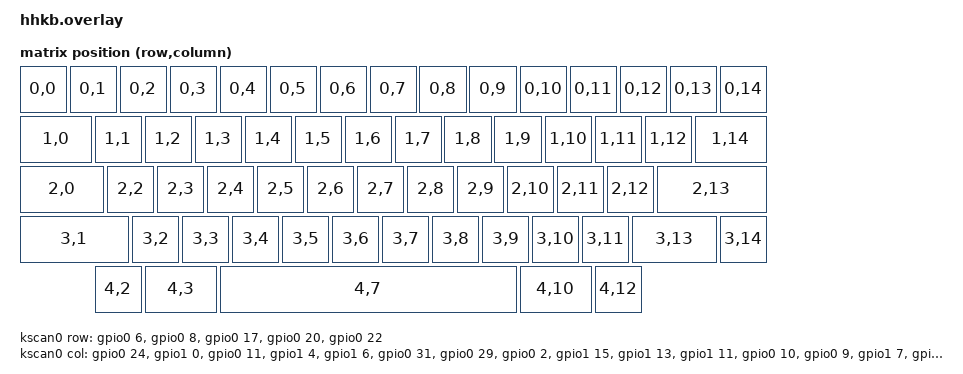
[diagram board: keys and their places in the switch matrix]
/*
 * HHKB Low-Profile – ZMK Shield Overlay
 *
 * 60-key matrix: 5 rows × 15 columns, diode direction row2col.
 * MCU: SuperMini nRF52840 (nice_nano_v2 compatible).
 */

#include <dt-bindings/zmk/matrix_transform.h>
#include <physical_layouts.dtsi>

/ {
    chosen {
        zmk,kscan = &kscan0;
        zmk,physical-layout = &hhkb_physical_layout;
    };

    hhkb_physical_layout: hhkb_physical_layout {
        compatible = "zmk,physical-layout";
        display-name = "HHKB";
        transform = <&default_transform>;
        kscan = <&kscan0>;
        keys
            /* Row 0: 15 × 1u */
            = <&key_physical_attrs 100 100    0   0 0 0 0>
            , <&key_physical_attrs 100 100  100   0 0 0 0>
            , <&key_physical_attrs 100 100  200   0 0 0 0>
            , <&key_physical_attrs 100 100  300   0 0 0 0>
            , <&key_physical_attrs 100 100  400   0 0 0 0>
            , <&key_physical_attrs 100 100  500   0 0 0 0>
            , <&key_physical_attrs 100 100  600   0 0 0 0>
            , <&key_physical_attrs 100 100  700   0 0 0 0>
            , <&key_physical_attrs 100 100  800   0 0 0 0>
            , <&key_physical_attrs 100 100  900   0 0 0 0>
            , <&key_physical_attrs 100 100 1000   0 0 0 0>
            , <&key_physical_attrs 100 100 1100   0 0 0 0>
            , <&key_physical_attrs 100 100 1200   0 0 0 0>
            , <&key_physical_attrs 100 100 1300   0 0 0 0>
            , <&key_physical_attrs 100 100 1400   0 0 0 0>
            /* Row 1: Tab(1.5u) Q–](1u) Bksp(1.5u) */
            , <&key_physical_attrs 150 100    0 100 0 0 0>
            , <&key_physical_attrs 100 100  150 100 0 0 0>
            , <&key_physical_attrs 100 100  250 100 0 0 0>
            , <&key_physical_attrs 100 100  350 100 0 0 0>
            , <&key_physical_attrs 100 100  450 100 0 0 0>
            , <&key_physical_attrs 100 100  550 100 0 0 0>
            , <&key_physical_attrs 100 100  650 100 0 0 0>
            , <&key_physical_attrs 100 100  750 100 0 0 0>
            , <&key_physical_attrs 100 100  850 100 0 0 0>
            , <&key_physical_attrs 100 100  950 100 0 0 0>
            , <&key_physical_attrs 100 100 1050 100 0 0 0>
            , <&key_physical_attrs 100 100 1150 100 0 0 0>
            , <&key_physical_attrs 100 100 1250 100 0 0 0>
            , <&key_physical_attrs 150 100 1350 100 0 0 0>
            /* Row 2: Ctrl(1.75u) A–'(1u) Enter(2.25u) */
            , <&key_physical_attrs 175 100    0 200 0 0 0>
            , <&key_physical_attrs 100 100  175 200 0 0 0>
            , <&key_physical_attrs 100 100  275 200 0 0 0>
            , <&key_physical_attrs 100 100  375 200 0 0 0>
            , <&key_physical_attrs 100 100  475 200 0 0 0>
            , <&key_physical_attrs 100 100  575 200 0 0 0>
            , <&key_physical_attrs 100 100  675 200 0 0 0>
            , <&key_physical_attrs 100 100  775 200 0 0 0>
            , <&key_physical_attrs 100 100  875 200 0 0 0>
            , <&key_physical_attrs 100 100  975 200 0 0 0>
            , <&key_physical_attrs 100 100 1075 200 0 0 0>
            , <&key_physical_attrs 100 100 1175 200 0 0 0>
            , <&key_physical_attrs 225 100 1275 200 0 0 0>
            /* Row 3: LShift(2.25u) Z–/(1u) RShift(1.75u) Fn(1u) */
            , <&key_physical_attrs 225 100    0 300 0 0 0>
            , <&key_physical_attrs 100 100  225 300 0 0 0>
            , <&key_physical_attrs 100 100  325 300 0 0 0>
            , <&key_physical_attrs 100 100  425 300 0 0 0>
            , <&key_physical_attrs 100 100  525 300 0 0 0>
            , <&key_physical_attrs 100 100  625 300 0 0 0>
            , <&key_physical_attrs 100 100  725 300 0 0 0>
            , <&key_physical_attrs 100 100  825 300 0 0 0>
            , <&key_physical_attrs 100 100  925 300 0 0 0>
            , <&key_physical_attrs 100 100 1025 300 0 0 0>
            , <&key_physical_attrs 100 100 1125 300 0 0 0>
            , <&key_physical_attrs 175 100 1225 300 0 0 0>
            , <&key_physical_attrs 100 100 1400 300 0 0 0>
            /* Row 4: LAlt(1u) LGui(1.5u) Space(6u) RGui(1.5u) RAlt(1u) */
            , <&key_physical_attrs 100 100  150 400 0 0 0>
            , <&key_physical_attrs 150 100  250 400 0 0 0>
            , <&key_physical_attrs 600 100  400 400 0 0 0>
            , <&key_physical_attrs 150 100 1000 400 0 0 0>
            , <&key_physical_attrs 100 100 1150 400 0 0 0>
            ;
    };

    default_transform: keymap_transform_0 {
        compatible = "zmk,matrix-transform";
        columns = <15>;
        rows = <5>;
        map = <
            RC(0,0)  RC(0,1)  RC(0,2)  RC(0,3)  RC(0,4)  RC(0,5)  RC(0,6)  RC(0,7)  RC(0,8)  RC(0,9)  RC(0,10) RC(0,11) RC(0,12) RC(0,13) RC(0,14)
            RC(1,0)  RC(1,1)  RC(1,2)  RC(1,3)  RC(1,4)  RC(1,5)  RC(1,6)  RC(1,7)  RC(1,8)  RC(1,9)  RC(1,10) RC(1,11) RC(1,12)          RC(1,14)
            RC(2,0)           RC(2,2)  RC(2,3)  RC(2,4)  RC(2,5)  RC(2,6)  RC(2,7)  RC(2,8)  RC(2,9)  RC(2,10) RC(2,11) RC(2,12) RC(2,13)
                     RC(3,1)  RC(3,2)  RC(3,3)  RC(3,4)  RC(3,5)  RC(3,6)  RC(3,7)  RC(3,8)  RC(3,9)  RC(3,10) RC(3,11)          RC(3,13) RC(3,14)
                              RC(4,2)  RC(4,3)                     RC(4,7)                    RC(4,10)          RC(4,12)
        >;
    };

    kscan0: kscan_0 {
        compatible = "zmk,kscan-gpio-matrix";
        wakeup-source;
        diode-direction = "row2col";

        row-gpios
            = <&gpio0  6 GPIO_ACTIVE_HIGH>   /* R0 */
            , <&gpio0  8 GPIO_ACTIVE_HIGH>   /* R1 */
            , <&gpio0 17 GPIO_ACTIVE_HIGH>   /* R2 */
            , <&gpio0 20 GPIO_ACTIVE_HIGH>   /* R3 */
            , <&gpio0 22 GPIO_ACTIVE_HIGH>   /* R4 */
            ;

        col-gpios
            = <&gpio0 24 (GPIO_ACTIVE_HIGH | GPIO_PULL_DOWN)>   /* C00 */
            , <&gpio1  0 (GPIO_ACTIVE_HIGH | GPIO_PULL_DOWN)>   /* C01 */
            , <&gpio0 11 (GPIO_ACTIVE_HIGH | GPIO_PULL_DOWN)>   /* C02 */
            , <&gpio1  4 (GPIO_ACTIVE_HIGH | GPIO_PULL_DOWN)>   /* C03 */
            , <&gpio1  6 (GPIO_ACTIVE_HIGH | GPIO_PULL_DOWN)>   /* C04 */
            , <&gpio0 31 (GPIO_ACTIVE_HIGH | GPIO_PULL_DOWN)>   /* C05 */
            , <&gpio0 29 (GPIO_ACTIVE_HIGH | GPIO_PULL_DOWN)>   /* C06 */
            , <&gpio0  2 (GPIO_ACTIVE_HIGH | GPIO_PULL_DOWN)>   /* C07 */
            , <&gpio1 15 (GPIO_ACTIVE_HIGH | GPIO_PULL_DOWN)>   /* C08 */
            , <&gpio1 13 (GPIO_ACTIVE_HIGH | GPIO_PULL_DOWN)>   /* C09 */
            , <&gpio1 11 (GPIO_ACTIVE_HIGH | GPIO_PULL_DOWN)>   /* C10 */
            , <&gpio0 10 (GPIO_ACTIVE_HIGH | GPIO_PULL_DOWN)>   /* C11 – NFC pin */
            , <&gpio0  9 (GPIO_ACTIVE_HIGH | GPIO_PULL_DOWN)>   /* C12 – NFC pin */
            , <&gpio1  7 (GPIO_ACTIVE_HIGH | GPIO_PULL_DOWN)>   /* C13 */
            , <&gpio1  1 (GPIO_ACTIVE_HIGH | GPIO_PULL_DOWN)>   /* C14 */
            ;
    };
};
